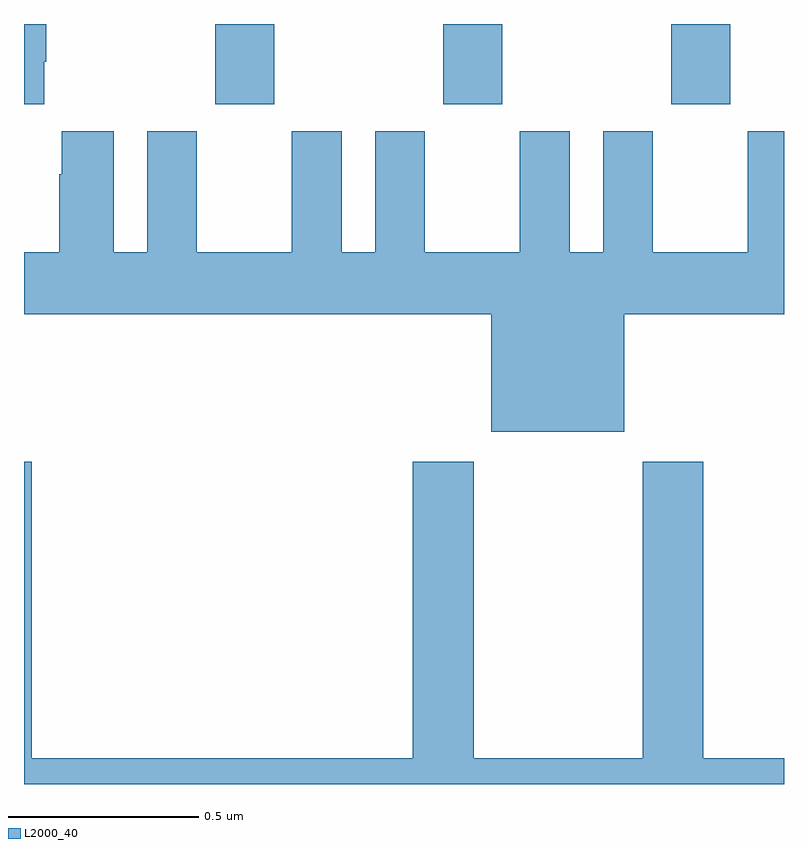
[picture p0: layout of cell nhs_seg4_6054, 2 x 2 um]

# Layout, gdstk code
import gdstk
lib = gdstk.Library(unit=1e-6, precision=1e-09)
def R(c, l, rs):  # rectangles x0, y0, x1, y1
    for r in rs: c.add(gdstk.rectangle(r[:2], r[2:], *l))
def A(c, l, x, y, w, h, nx, ny, dx, dy):  # array of equal rectangles
    R(c, l, [(x+i*dx, y+j*dy, x+i*dx+w, y+j*dy+h) for i in range(nx) for j in range(ny)])
def P(c, l, *ps):  # polygons
    for p in ps: c.add(gdstk.Polygon(p, *l))
L2000_40 = (2000, 40)

nhs_seg4_6054 = lib.new_cell('nhs_seg4_6054')
A(nhs_seg4_6054, L2000_40, 185.503, 814.689, 0.155, 0.211, 3, 1, 0.6, 0)
P(nhs_seg4_6054, L2000_40, [(185.053,814.801),(185.058,814.801),(185.058,814.9),(185,814.9),(185,814.689),(185.053,814.689)],
  [(186.58,814.136),(187,814.136),(187,814.618),(186.905,814.618),(186.905,814.3),(186.655,814.3),(186.655,814.618),(186.524,814.618),(186.524,814.3),(186.436,814.3),(186.436,814.618),(186.305,814.618),(186.305,814.3),(186.055,814.3),(186.055,814.618),(185.924,814.618),(185.924,814.3),(185.836,814.3),(185.836,814.618),(185.705,814.618),(185.705,814.3),(185.455,814.3),(185.455,814.618),(185.324,814.618),(185.324,814.3),(185.236,814.3),(185.236,814.618),(185.099,814.618),(185.099,814.505),(185.093,814.505),(185.093,814.3),(185,814.3),(185,814.136),(186.23,814.136),(186.23,813.827),(186.58,813.827)],
  [(187,812.968),(186.788,812.968),(186.788,813.748),(186.628,813.748),(186.628,812.968),(186.183,812.968),(186.183,813.748),(186.023,813.748),(186.023,812.968),(185.021,812.968),(185.021,813.748),(185,813.748),(185,812.9),(187,812.9)])

lib.write_gds('nhs_seg4_6054.gds')
